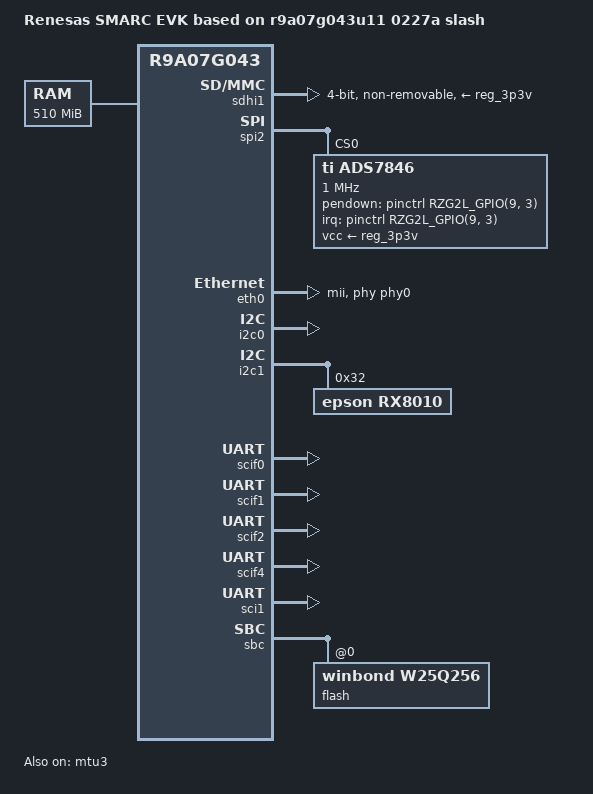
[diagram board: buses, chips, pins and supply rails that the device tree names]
// SPDX-License-Identifier: (GPL-2.0-only OR BSD-2-Clause)
/*
 * Device Tree Source for the RZ/G2UL Type-1 SMARC EVK board
 *
 * Copyright (C) 2022 Renesas Electronics Corp.
 */

/dts-v1/;
#include "r9a07g043.dtsi"
#include "rzg2ul-smarc.dtsi"

#define FATEK_MODIFY    1
#define FATEK_TEST      0

#if FATEK_MODIFY
/ {
	model = "Renesas SMARC EVK based on r9a07g043u11 0227a slash";
	compatible = "renesas,smarc-evk", "renesas,r9a07g043u11", "renesas,r9a07g043";

	memory@40200000 {
		device_type = "memory";
		/* first 2MB is reserved for secure area. */
		reg = <0 0x40200000 0 0x1FE00000>;
	};

	aliases {
		/delete-property/ ethernet1;
		i2c0 = &i2c0;
		i2c1 = &i2c1;
		serial0 = &scif0;
		serial1 = &scif1;
		serial2 = &scif2;
		serial3 = &scif4;
		serial4 = &sci1;
	};

	reserved-memory {
		#address-cells = <2>;
		#size-cells = <2>;
		ranges;

		/delete-node/ linux,cma@58000000;
		/delete-node/ linux,multimedia;

		global_cma: linux,cma@50000000 {
			compatible = "shared-dma-pool";
			linux,cma-default;
			reusable;
			/* 128MB is reserved for CMA */
			reg = <0x0 0x5BFFFFFF 0x0 0x2000000>;
		};
		mmp_reserved: linux,multimedia {
			compatible = "shared-dma-pool";
			reusable;
			/* 128MB is reserved for CMA */
			reg = <0x00000000 0x5DFFFFFF 0x0 0x2000000>;
		};
	};

	/delete-node/ sound;
	/delete-node/ clk_ext_camera;
	/delete-node/ memory@48000000;
	/delete-node/ regulator-vccq-sdhi1;
	/delete-node/ vccq_sdhi1;
};

&soc {
	/delete-node/ canfd;
	/delete-node/ can@10050000;
	/delete-node/ adc@10059000;
	/delete-node/ csi2@10830400;
	/delete-node/ video@10830000;
	/delete-node/ ethernet@11c30000;
};

&pinctrl {
	/delete-node/ can0;
	/delete-node/ can1;
	/delete-node/ eth1;
	/delete-node/ sdhi0_pins;
	/delete-node/ sdhi0_pins_uhs;
	/delete-node/ ssi1;

	gpio_pins: gpio {
		pinmux = <RZG2L_PORT_PINMUX(5,2,0)>, /* P5_2 */
				 <RZG2L_PORT_PINMUX(5,4,0)>, /* P5_4 */
				 <RZG2L_PORT_PINMUX(6,2,0)>, /* P6_2 */
				 <RZG2L_PORT_PINMUX(7,4,0)>, /* P7_4 */
				 <RZG2L_PORT_PINMUX(8,2,0)>, /* P8_2 */
				 <RZG2L_PORT_PINMUX(8,3,0)>, /* P8_3 */
				 <RZG2L_PORT_PINMUX(8,4,0)>, /* P8_4 */
				 <RZG2L_PORT_PINMUX(9,3,0)>, /* P9_3 */
				 <RZG2L_PORT_PINMUX(10,4,0)>; /* P10_4 */
	};
	eth0_pins: eth0 {
		pinmux = <RZG2L_PORT_PINMUX(4,5,1)>, /* ET0_LINKSTA */
				 <RZG2L_PORT_PINMUX(4,3,1)>, /* ET0_MDC */
				 <RZG2L_PORT_PINMUX(4,4,1)>, /* ET0_MDIO */
				 <RZG2L_PORT_PINMUX(3,0,1)>, /* ET0_RXC/RX_CLK */
				 <RZG2L_PORT_PINMUX(3,2,1)>, /* ET0_RXD0 */
				 <RZG2L_PORT_PINMUX(3,3,1)>, /* ET0_RXD1 */
				 <RZG2L_PORT_PINMUX(4,0,1)>, /* ET0_RXD2 */
				 <RZG2L_PORT_PINMUX(4,1,1)>, /* ET0_RXD3 */
				 <RZG2L_PORT_PINMUX(3,1,1)>, /* ET0_RX_CTL/RX_DV */
				 <RZG2L_PORT_PINMUX(4,2,1)>, /* ET0_RX_ERR */
				 <RZG2L_PORT_PINMUX(1,0,1)>, /* ET0_TXC/TX_CLK */
				 <RZG2L_PORT_PINMUX(1,2,1)>, /* ET0_TXD0 */
				 <RZG2L_PORT_PINMUX(1,3,1)>, /* ET0_TXD1 */
				 <RZG2L_PORT_PINMUX(1,4,1)>, /* ET0_TXD2 */
				 <RZG2L_PORT_PINMUX(2,0,1)>, /* ET0_TXD3 */
				 <RZG2L_PORT_PINMUX(2,2,1)>, /* ET0_TX_COL */
				 <RZG2L_PORT_PINMUX(2,3,1)>, /* ET0_TX_CRS */
				 <RZG2L_PORT_PINMUX(1,1,1)>, /* ET0_TX_CTL/TX_EN */
				 <RZG2L_PORT_PINMUX(2,1,1)>; /* ET0_TX_ERR */
	};
	mtu3_pins: mtu3 {
		pinmux = <RZG2L_PORT_PINMUX(9,0,5)>; /* MTIOC4A_B */
	};
	rspi2_pins: rspi2 {
		pinmux = <RZG2L_PORT_PINMUX(7,0,3)>, /* RSPI2_CK_A */
				 <RZG2L_PORT_PINMUX(7,2,3)>, /* RSPI2_MISO_A */
				 <RZG2L_PORT_PINMUX(7,1,3)>, /* RSPI2_MOSI_A */
				 <RZG2L_PORT_PINMUX(7,3,3)>; /* RSPI2_SSL_A */
	};
	scif0_pins: scif0 {
		pinmux = <RZG2L_PORT_PINMUX(6,3,6)>, /* SCIF0_RXD_C */
				 <RZG2L_PORT_PINMUX(6,4,6)>; /* SCIF0_TXD_C */
	};
	scif1_pins: scif1 {
		pinmux = <RZG2L_PORT_PINMUX(8,0,3)>, /* SCIF1_RXD_B */
				 <RZG2L_PORT_PINMUX(8,1,3)>; /* SCIF1_TXD_B */
	};
	scif2_pins: scif2 {
		pinmux = <RZG2L_PORT_PINMUX(5,1,2)>, /* SCIF2_RXD_A */
				 <RZG2L_PORT_PINMUX(5,0,2)>; /* SCIF2_TXD_A */
	};
	scif4_pins: scif4 {
		pinmux = <RZG2L_PORT_PINMUX(9,1,6)>, /* SCIF4_RXD_A */
				 <RZG2L_PORT_PINMUX(9,2,6)>; /* SCIF4_TXD_A */
	};
	sci1_pins: sci1 {
		pinmux = <RZG2L_PORT_PINMUX(18,5,6)>, /* SCI1_RXD_C */
				 <RZG2L_PORT_PINMUX(18,4,6)>; /* SCI1_TXD_C */
	};
	usb0_pins: usb0 {
		pinmux = <RZG2L_PORT_PINMUX(5, 3, 1)>; /* OTG_ID */
	};
	usb1_pins: usb1 {
		pinmux = <RZG2L_PORT_PINMUX(6,1,1)>, /* USB1_OVRCUR_D */
				 <RZG2L_PORT_PINMUX(6,0,1)>; /* USB1_VBUSEN_D */
	};
};
&sdhi1 {
	pinctrl-0 = <&sdhi1_pins>;
	//pinctrl-1 = <&sdhi1_pins_uhs>;
	//pinctrl-names = "default", "state_uhs";
	pinctrl-names = "default";

	vmmc-supply = <&reg_3p3v>;
	vqmmc-supply = <&reg_3p3v>;
	bus-width = <4>;
	sd-uhs-sdr50;
	sd-uhs-sdr104;
	status = "okay";
	#if 1
	non-removable;
	#endif /* FATEK_TEST */
};
&mtu3 {
	pinctrl-0 = <&mtu3_pins>;
	pinctrl-names = "default";
	pwm_mode1 = <4 0>;
	#pwm-cells = <2>;

	status = "okay";
};
&spi2 {
	pinctrl-0 = <&rspi2_pins>;
	pinctrl-names = "default";

	status = "okay";
	ads7846@0 {
		compatible = "ti,ads7846";
		vcc-supply = <&reg_3p3v>;

		reg = <0>;						/* CS0 */
		spi-max-frequency = <1000000>;

		interrupt-parent = <&pinctrl>;
		interrupts = <RZG2L_GPIO(9, 3) IRQ_TYPE_LEVEL_LOW>;
		pendown-gpio = <&pinctrl RZG2L_GPIO(9, 3) GPIO_ACTIVE_HIGH>;

		ti,x-min = /bits/ 16 <0x0>;
		ti,x-max = /bits/ 16 <0x0fff>;
		ti,y-min = /bits/ 16 <0x0>;
		ti,y-max = /bits/ 16 <0x0fff>;
		ti,x-plate-ohms = /bits/ 16 <180>;
		ti,pressure-max = /bits/ 16 <255>;
		ti,debounce-max = /bits/ 16 <10>;
		ti,debounce-tol = /bits/ 16 <15>;
		ti,debounce-rep = /bits/ 16 <1>;
		ti,keep-vref-on = /bits/ 16 <1>;
		ti,vref-delay-usecs = /bits/ 16 <100>;
		ti,vref-mv = /bits/ 16 <5000>;
		ti,settle-delay-usec = /bits/ 16 <100>;
		ti,penirq-recheck-delay-usecs = /bits/ 16 <100>;

		wakeup-source;
	};
};
&eth0 {
	pinctrl-0 = <&eth0_pins>;
	pinctrl-names = "default";

	status = "okay";

	phy-handle = <&phy0>;
	phy-mode = "mii";
};
&i2c0 {
	pinctrl-names = "default";
	pinctrl-0 = <&i2c0_pins>;
	status = "okay";

	/delete-node/ versa3@68;
	/delete-node/ camera@3c;
};
&i2c1 {
	pinctrl-names = "default";
	pinctrl-0 = <&i2c1_pins>;
	status = "okay";

	/* use rx8010 rtc */
	rx8010: rx8010@32 {
		compatible = "epson,rx8010";
		reg = <0x32>;
	};

	/delete-node/ codec@1a;
};
&scif0 {
	pinctrl-0 = <&scif0_pins>;
	pinctrl-names = "default";

	status = "okay";
};
&scif1 {
	pinctrl-0 = <&scif1_pins>;
	pinctrl-names = "default";

	status = "okay";
};
&scif2 {
	pinctrl-0 = <&scif2_pins>;
	pinctrl-names = "default";

	status = "okay";
};
&scif4 {
	pinctrl-0 = <&scif4_pins>;
	pinctrl-names = "default";

	status = "okay";
};
&sci1 {
	pinctrl-0 = <&sci1_pins>;
	pinctrl-names = "default";

	status = "okay";
};
&sbc {
	pinctrl-0 = <&qspi0_pins>;
	pinctrl-names = "default";

	status = "okay";

	flash@0 {
		compatible = "winbond,w25q256", "jedec,spi-nor";
	};
};
#else
/ {
	model = "Renesas SMARC EVK based on r9a07g043u11";
	compatible = "renesas,smarc-evk", "renesas,r9a07g043u11", "renesas,r9a07g043";
};
#endif /* FATEK_MODIFY */
